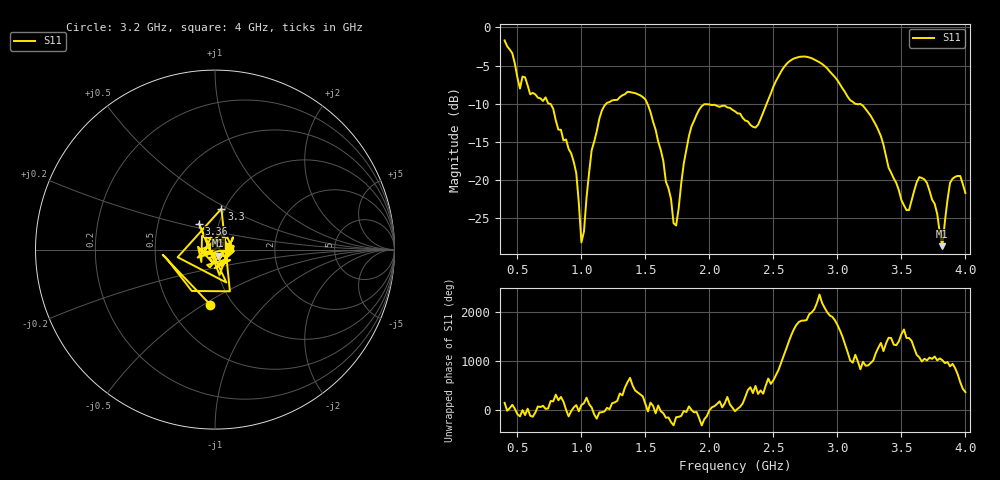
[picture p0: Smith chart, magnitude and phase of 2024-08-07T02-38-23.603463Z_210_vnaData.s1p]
!Created with skrf (http://scikit-rf.org).
# Hz S RI R 50.0
!freq ReS11 ImS11
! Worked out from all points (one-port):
!   181 points, 400 MHz to 4 GHz, reference 50 ohm
!   lowest |S11| = -28.6 dB at 3.82 GHz (marker M1), VSWR 1.08, Z = 51.6 - j3.42 ohm
!   |S11| at or under -10 dB: 755.1 MHz to 1.193 GHz (437.5 MHz wide, 44.9 % of centre); 1.516 GHz to 2.447 GHz (930.6 MHz wide, 47 % of centre); 3.14 GHz to end of sweep
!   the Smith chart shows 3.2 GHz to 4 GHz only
!   S11 on the Smith chart (normalised r, x): 3.2 GHz: 0.79, -0.53; 3.3 GHz: 0.96, +0.46; 3.36 GHz: 0.80, +0.24; 4 GHz: 1.18, +0.02
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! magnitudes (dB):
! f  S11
! 400 MHz  -1.7
! 520 MHz  -8.0
! 720 MHz  -9.2
! 860 MHz  -14.8
! 960 MHz  -19.1
! 1 GHz  -28.1
! 1.08 GHz  -16.1
! 1.14 GHz  -11.9
! 1.3 GHz  -9.1
! 1.5 GHz  -9.4
! 1.64 GHz  -17.5
! 1.72 GHz  -25.6
! 1.76 GHz  -23.7
! 1.84 GHz  -14.2
! 1.92 GHz  -10.8
! 2.2 GHz  -11.0
! 2.36 GHz  -13.1
! 2.66 GHz  -4.1
! 2.88 GHz  -4.8
! 3.1 GHz  -9.5
! 3.2 GHz  -10.3
! 3.3 GHz  -12.7
! 3.36 GHz  -15.4
! 3.56 GHz  -23.9
! 3.68 GHz  -19.9
! 3.82 GHz  -28.6
! 3.88 GHz  -20.4
! 4 GHz  -21.7
